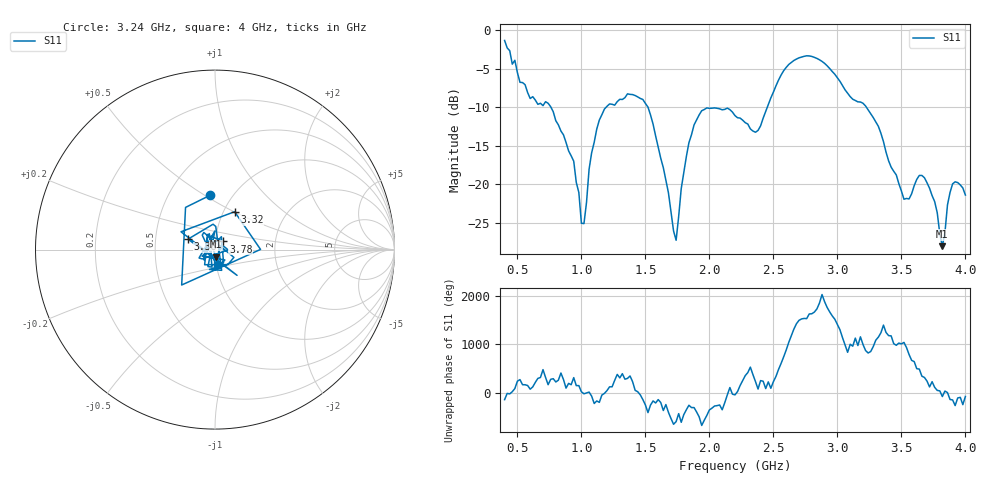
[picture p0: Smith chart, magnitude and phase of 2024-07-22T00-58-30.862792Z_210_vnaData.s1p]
!Created with skrf (http://scikit-rf.org).
# Hz S RI R 50.0
!freq ReS11 ImS11
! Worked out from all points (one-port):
!   181 points, 400 MHz to 4 GHz, reference 50 ohm
!   lowest |S11| = -28.1 dB at 3.82 GHz (marker M1), VSWR 1.08, Z = 50.3 - j3.96 ohm
!   |S11| at or under -10 dB: 761.8 MHz to 1.193 GHz (431.6 MHz wide, 44.2 % of centre); 1.52 GHz to 2.452 GHz (931.5 MHz wide, 46.9 % of centre); 3.226 GHz to end of sweep
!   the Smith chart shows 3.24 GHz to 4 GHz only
!   S11 on the Smith chart (normalised r, x): 3.24 GHz: 0.79, +0.53; 3.32 GHz: 1.13, +0.50; 3.38 GHz: 0.73, +0.09; 3.78 GHz: 1.09, +0.10; 4 GHz: 1.01, -0.17
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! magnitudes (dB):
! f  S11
! 400 MHz  -1.3
! 520 MHz  -6.8
! 860 MHz  -13.6
! 940 MHz  -17.0
! 1 GHz  -25.1
! 1.02 GHz  -25.1
! 1.06 GHz  -18.1
! 1.14 GHz  -11.7
! 1.3 GHz  -9.0
! 1.52 GHz  -10.0
! 1.74 GHz  -27.3
! 1.76 GHz  -24.2
! 1.84 GHz  -14.6
! 1.92 GHz  -11.0
! 2.2 GHz  -11.1
! 2.38 GHz  -13.0
! 2.66 GHz  -3.9
! 2.88 GHz  -4.1
! 3.1 GHz  -8.6
! 3.24 GHz  -10.4
! 3.32 GHz  -12.5
! 3.38 GHz  -15.8
! 3.56 GHz  -21.9
! 3.66 GHz  -18.9
! 3.78 GHz  -23.7
! 3.82 GHz  -28.1
! 3.9 GHz  -20.0
! 4 GHz  -21.4
